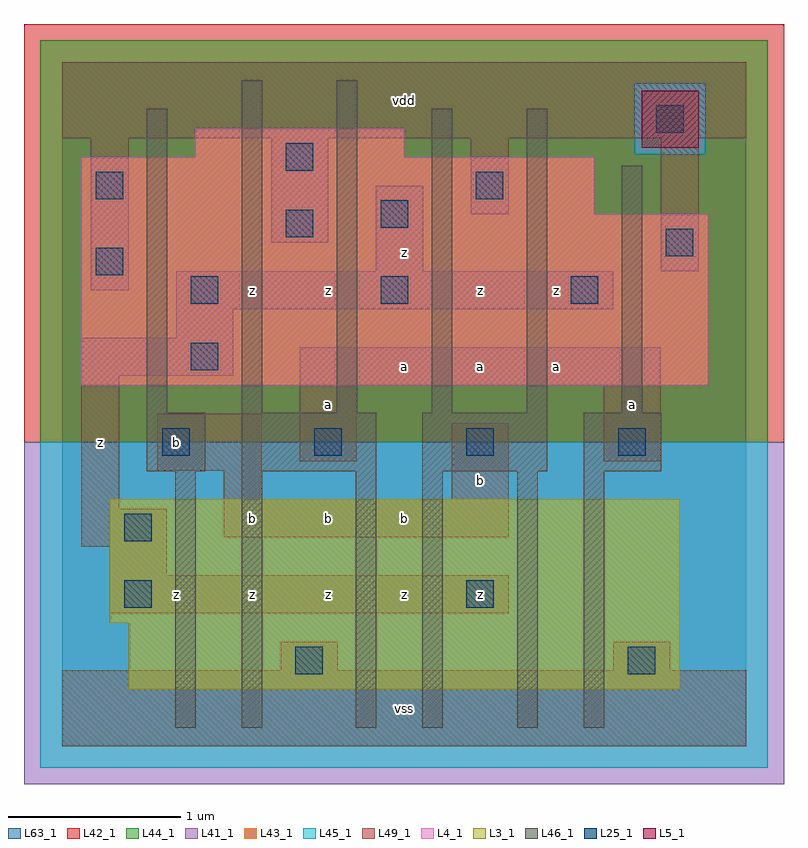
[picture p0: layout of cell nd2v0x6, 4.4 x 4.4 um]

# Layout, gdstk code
import gdstk
lib = gdstk.Library(unit=1e-6, precision=1e-09)
def R(c, l, rs):  # rectangles x0, y0, x1, y1
    for r in rs: c.add(gdstk.rectangle(r[:2], r[2:], *l))
def A(c, l, x, y, w, h, nx, ny, dx, dy):  # array of equal rectangles
    R(c, l, [(x+i*dx, y+j*dy, x+i*dx+w, y+j*dy+h) for i in range(nx) for j in range(ny)])
L3_1 = (3, 1)
L4_1 = (4, 1)
L5_1 = (5, 1)
L25_1 = (25, 1)
L41_1 = (41, 1)
L42_1 = (42, 1)
L43_1 = (43, 1)
L44_1 = (44, 1)
L45_1 = (45, 1)
L46_1 = (46, 1)
L49_1 = (49, 1)
L63_1 = (63, 1)

nd2v0x6 = lib.new_cell('nd2v0x6')
R(nd2v0x6, L3_1, [(0.385,0.33,3.575,0.715), (0.275,0.715,3.575,1.43)])
R(nd2v0x6, L4_1, [(0.11,2.09,3.74,3.08), (0.11,3.08,3.08,3.41), (0.77,3.41,1.98,3.575)])
R(nd2v0x6, L5_1, [(3.355,3.465,3.685,3.795)])
A(nd2v0x6, L25_1, 0.58, 1.68, 0.16, 0.16, 4, 1, 0.88, 0)
A(nd2v0x6, L25_1, 0.745, 2.56, 0.16, 0.16, 3, 1, 1.1, 0)
R(nd2v0x6, L25_1, [(1.35,0.415,1.51,0.575), (3.275,0.415,3.435,0.575), (0.36,0.8,0.52,0.96), (2.34,0.8,2.5,0.96), (0.36,1.185,0.52,1.345), (0.745,2.175,0.905,2.335), (0.195,2.725,0.355,2.885), (3.495,2.835,3.655,2.995), (1.295,2.945,1.455,3.105), (1.845,3,2.005,3.16), (0.195,3.165,0.355,3.325), (2.395,3.165,2.555,3.325), (1.295,3.33,1.455,3.49), (3.44,3.55,3.6,3.71)])
R(nd2v0x6, L41_1, [(-0.22,-0.22,4.18,1.76)])
R(nd2v0x6, L42_1, [(-0.22,1.76,4.18,4.18)])
R(nd2v0x6, L43_1, [(0.385,0.33,3.575,0.715), (0.275,0.715,3.575,1.43), (0.11,2.09,3.74,3.08), (0.11,3.08,3.08,3.41), (0.77,3.41,1.98,3.575), (3.355,3.465,3.685,3.795)])
R(nd2v0x6, L44_1, [(-0.125,1.76,4.085,3.425), (-0.125,3.425,3.315,3.835), (3.725,3.425,4.085,3.835), (-0.125,3.835,4.085,4.085)])
R(nd2v0x6, L45_1, [(-0.125,-0.125,4.085,1.76), (3.315,3.425,3.725,3.835)])
R(nd2v0x6, L46_1, [(0.655,0.105,0.775,1.59), (1.04,0.105,1.16,1.59), (1.7,0.105,1.82,1.59), (2.085,0.105,2.205,1.59), (2.635,0.105,2.755,1.59), (3.02,0.105,3.14,1.59), (0.49,1.59,0.83,1.93), (1.04,1.59,1.82,1.93), (2.085,1.59,2.81,1.93), (3.02,1.59,3.47,1.93), (0.49,1.93,0.61,3.69), (1.04,1.93,1.16,3.855), (1.59,1.93,1.71,3.855), (2.14,1.93,2.26,3.69), (2.69,1.93,2.81,3.69), (3.24,1.93,3.36,3.36)])
R(nd2v0x6, L49_1, [(0,0,3.96,0.44), (1.265,0.44,1.595,0.605), (3.19,0.44,3.52,0.605), (0.275,0.77,2.585,0.99), (0.275,0.99,0.605,1.155), (0.11,1.155,0.605,1.375), (0.935,1.21,2.585,1.43), (0.11,1.375,0.33,2.145), (0.935,1.43,1.155,1.595), (2.255,1.43,2.585,1.87), (0.55,1.595,1.155,1.925), (1.375,1.65,1.705,2.09), (3.135,1.65,3.465,2.09), (1.375,2.09,3.465,2.31), (0.11,2.145,0.99,2.365), (0.66,2.365,0.99,2.53), (0.66,2.53,3.19,2.75), (0.165,2.64,0.385,3.52), (1.815,2.75,2.09,3.245), (3.465,2.75,3.685,3.52), (1.21,2.915,1.54,3.52), (2.365,3.08,2.585,3.52), (0,3.52,3.96,3.96)])
R(nd2v0x6, L63_1, [(0,0,3.96,3.96)])
nd2v0x6.add(gdstk.Label('z', (0.22,1.76), layer=49, texttype=1))
nd2v0x6.add(gdstk.Label('z', (1.1,0.88), layer=49, texttype=1))
nd2v0x6.add(gdstk.Label('z', (0.66,0.88), layer=49, texttype=1))
nd2v0x6.add(gdstk.Label('b', (1.1,1.32), layer=49, texttype=1))
nd2v0x6.add(gdstk.Label('b', (0.66,1.76), layer=49, texttype=1))
nd2v0x6.add(gdstk.Label('z', (1.1,2.64), layer=49, texttype=1))
nd2v0x6.add(gdstk.Label('vss', (1.98,0.22), layer=49, texttype=1))
nd2v0x6.add(gdstk.Label('z', (1.98,0.88), layer=49, texttype=1))
nd2v0x6.add(gdstk.Label('z', (1.54,0.88), layer=49, texttype=1))
nd2v0x6.add(gdstk.Label('b', (1.54,1.32), layer=49, texttype=1))
nd2v0x6.add(gdstk.Label('b', (1.98,1.32), layer=49, texttype=1))
nd2v0x6.add(gdstk.Label('a', (1.54,1.98), layer=49, texttype=1))
nd2v0x6.add(gdstk.Label('a', (1.98,2.2), layer=49, texttype=1))
nd2v0x6.add(gdstk.Label('z', (1.54,2.64), layer=49, texttype=1))
nd2v0x6.add(gdstk.Label('z', (1.98,2.86), layer=49, texttype=1))
nd2v0x6.add(gdstk.Label('vdd', (1.98,3.74), layer=49, texttype=1))
nd2v0x6.add(gdstk.Label('z', (2.42,0.88), layer=49, texttype=1))
nd2v0x6.add(gdstk.Label('b', (2.42,1.54), layer=49, texttype=1))
nd2v0x6.add(gdstk.Label('a', (2.42,2.2), layer=49, texttype=1))
nd2v0x6.add(gdstk.Label('a', (2.86,2.2), layer=49, texttype=1))
nd2v0x6.add(gdstk.Label('z', (2.42,2.64), layer=49, texttype=1))
nd2v0x6.add(gdstk.Label('z', (2.86,2.64), layer=49, texttype=1))
nd2v0x6.add(gdstk.Label('a', (3.3,1.98), layer=49, texttype=1))

lib.write_gds('nd2v0x6.gds')
